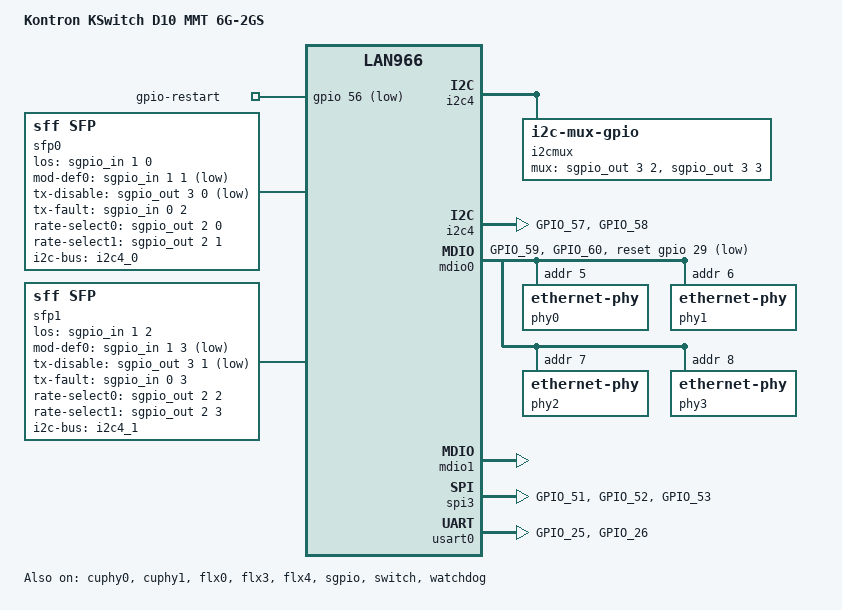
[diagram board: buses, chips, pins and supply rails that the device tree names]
// SPDX-License-Identifier: (GPL-2.0+ OR MIT)
/*
 * Device Tree file for the Kontron KSwitch D10 MMT 6G-2GS
 */

/dts-v1/;
#include "lan966x.dtsi"
#include "dt-bindings/phy/phy-lan966x-serdes.h"

/ {
	model = "Kontron KSwitch D10 MMT 6G-2GS";
	compatible = "kontron,kswitch-d10-mmt-6g-2gs", "kontron,s1921",
		     "microchip,lan9668", "microchip,lan966";

	aliases {
		serial0 = &usart0;
	};

	chosen {
		stdout-path = "serial0:115200n8";
	};

	gpio-restart {
		compatible = "gpio-restart";
		gpios = <&gpio 56 GPIO_ACTIVE_LOW>;
		priority = <200>;
	};

	i2cmux {
		compatible = "i2c-mux-gpio";
		#address-cells = <1>;
		#size-cells = <0>;
		mux-gpios = <&sgpio_out 3 2 GPIO_ACTIVE_HIGH>,
			    <&sgpio_out 3 3 GPIO_ACTIVE_HIGH>;
		i2c-parent = <&i2c4>;

		i2c4_0: i2c@1 {
			reg = <1>;
			#address-cells = <1>;
			#size-cells = <0>;
		};

		i2c4_1: i2c@2 {
			reg = <2>;
			#address-cells = <1>;
			#size-cells = <0>;
		};
	};

	sfp0: sfp0 {
		compatible = "sff,sfp";
		i2c-bus = <&i2c4_0>;
		los-gpios = <&sgpio_in 1 0 GPIO_ACTIVE_HIGH>;
		mod-def0-gpios = <&sgpio_in 1 1 GPIO_ACTIVE_LOW>;
		maximum-power-milliwatt = <2500>;
		tx-disable-gpios = <&sgpio_out 3 0 GPIO_ACTIVE_LOW>;
		tx-fault-gpios = <&sgpio_in 0 2 GPIO_ACTIVE_HIGH>;
		rate-select0-gpios = <&sgpio_out 2 0 GPIO_ACTIVE_HIGH>;
		rate-select1-gpios = <&sgpio_out 2 1 GPIO_ACTIVE_HIGH>;
	};

	sfp1: sfp1 {
		compatible = "sff,sfp";
		i2c-bus = <&i2c4_1>;
		los-gpios = <&sgpio_in 1 2 GPIO_ACTIVE_HIGH>;
		mod-def0-gpios = <&sgpio_in 1 3 GPIO_ACTIVE_LOW>;
		maximum-power-milliwatt = <2500>;
		tx-disable-gpios = <&sgpio_out 3 1 GPIO_ACTIVE_LOW>;
		tx-fault-gpios = <&sgpio_in 0 3 GPIO_ACTIVE_HIGH>;
		rate-select0-gpios = <&sgpio_out 2 2 GPIO_ACTIVE_HIGH>;
		rate-select1-gpios = <&sgpio_out 2 3 GPIO_ACTIVE_HIGH>;
	};
};

&cuphy0 {
	status = "okay";
};

&cuphy1 {
	status = "okay";
};

&flx0 {
	atmel,flexcom-mode = <ATMEL_FLEXCOM_MODE_USART>;
	status = "okay";
};

&flx3 {
	atmel,flexcom-mode = <ATMEL_FLEXCOM_MODE_SPI>;
	status = "okay";
};

&flx4 {
	atmel,flexcom-mode = <ATMEL_FLEXCOM_MODE_TWI>;
	status = "okay";
};

&gpio {
	usart0_pins: usart0-pins {
		/* RXD, TXD */
		pins = "GPIO_25", "GPIO_26";
		function = "fc0_b";
	};

	sgpio_a_pins: sgpio-a-pins {
		/* SCK, D0, D1, LD */
		pins = "GPIO_32", "GPIO_33", "GPIO_34";
		function = "sgpio_a";
	};

	sgpio_b_pins: sgpio-b-pins {
		/* SCK, D0, D1, LD */
		pins = "GPIO_64";
		function = "sgpio_b";
	};

	fc3_b_pins: fc3-b-spi-pins {
		/* SCK, MISO, MOSI */
		pins = "GPIO_51", "GPIO_52", "GPIO_53";
		function = "fc3_b";
	};

	fc4_b_pins: fc4-b-i2c-pins {
		/* RXD, TXD */
		pins = "GPIO_57", "GPIO_58";
		function = "fc4_b";
	};

	miim_c_pins: miim-c-pins {
		/* MDC, MDIO */
		pins = "GPIO_59", "GPIO_60";
		function = "miim_c";
	};
};

&i2c4 {
	pinctrl-0 = <&fc4_b_pins>;
	pinctrl-names = "default";
	status = "okay";
};

&mdio0 {
	pinctrl-0 = <&miim_c_pins>;
	pinctrl-names = "default";
	reset-gpios = <&gpio 29 GPIO_ACTIVE_LOW>;
	status = "okay";

	phy0: ethernet-phy@5 {
		reg = <5>;
	};

	phy1: ethernet-phy@6 {
		reg = <6>;
	};

	phy2: ethernet-phy@7 {
		reg = <7>;
	};

	phy3: ethernet-phy@8 {
		reg = <8>;
	};
};

&mdio1 {
	status = "okay";
};

&port0 {
	phys = <&serdes 0 CU(0)>;
	phy-handle = <&cuphy0>;
	phy-mode = "gmii";
	status = "okay";
};

&port1 {
	phys = <&serdes 1 CU(1)>;
	phy-handle = <&cuphy1>;
	phy-mode = "gmii";
	status = "okay";
};

&port2 {
	phys = <&serdes 2 SERDES6G(0)>;
	sfp = <&sfp0>;
	managed = "in-band-status";
	phy-mode = "sgmii";
	status = "okay";
};

&port3 {
	phys = <&serdes 3 SERDES6G(1)>;
	sfp = <&sfp1>;
	managed = "in-band-status";
	phy-mode = "sgmii";
	status = "okay";
};

&port4 {
	phys = <&serdes 4 SERDES6G(2)>;
	phy-handle = <&phy0>;
	phy-mode = "qsgmii";
	status = "okay";
};

&port5 {
	phys = <&serdes 5 SERDES6G(2)>;
	phy-handle = <&phy1>;
	phy-mode = "qsgmii";
	status = "okay";
};

&port6 {
	phys = <&serdes 6 SERDES6G(2)>;
	phy-handle = <&phy2>;
	phy-mode = "qsgmii";
	status = "okay";
};

&port7 {
	phys = <&serdes 7 SERDES6G(2)>;
	phy-handle = <&phy3>;
	phy-mode = "qsgmii";
	status = "okay";
};

&sgpio {
	pinctrl-0 = <&sgpio_a_pins>, <&sgpio_b_pins>;
	pinctrl-names = "default";
	bus-frequency = <8000000>;
	/* arbitrary range because all GPIOs are in software mode */
	microchip,sgpio-port-ranges = <0 11>;
	status = "okay";
};

&sgpio_in {
	ngpios = <128>;
};

&sgpio_out {
	ngpios = <128>;
};

&spi3 {
	pinctrl-0 = <&fc3_b_pins>;
	pinctrl-names = "default";
	cs-gpios = <&gpio 46 GPIO_ACTIVE_LOW>;
	status = "okay";
};

&switch {
	status = "okay";
};

&usart0 {
	pinctrl-0 = <&usart0_pins>;
	pinctrl-names = "default";
	status = "okay";
};

&watchdog {
	status = "okay";
};
